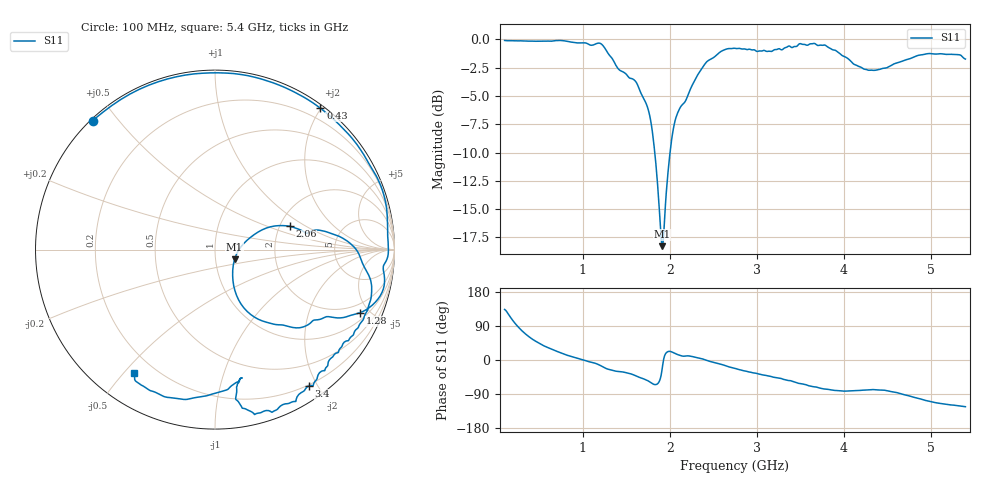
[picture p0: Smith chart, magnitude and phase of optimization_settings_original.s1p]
! Touchstone file generated by Optenni Lab on 2026-07-15T02:30:11
# Hz S RI R 50
! freq S11(real imag)
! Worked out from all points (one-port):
!   531 points, 100 MHz to 5.4 GHz, reference 50 ohm
!   lowest |S11| = -18.3 dB at 1.91 GHz (marker M1), VSWR 1.28, Z = 61.8 - j6.91 ohm
!   |S11| at or under -10 dB: 1.827 GHz to 2.003 GHz (175.8 MHz wide, 9.18 % of centre)
!   S11 on the Smith chart (normalised r, x): 100 MHz: 0.01, +0.43; 430 MHz: 0.04, +1.99; 1.28 GHz: 1.40, -4.37; 2.06 GHz: 2.27, +0.73; 3.4 GHz: 0.19, -1.89; 5.4 GHz: 0.13, -0.53
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1e8  -0.6803 0.7189
1.8e8  -0.3154 0.9355
2.4e8  -0.0237 0.9847
3.3e8  0.324 0.9292
4.3e8  0.587 0.7876
5.7e8  0.8016 0.5706
7.7e8  0.9451 0.2868
1.18e9  0.9421 -0.2019
1.28e9  0.8069 -0.3518
1.43e9  0.6257 -0.3733
1.59e9  0.5085 -0.4239
1.76e9  0.2633 -0.3972
1.82e9  0.1447 -0.3029
1.91e9  0.1088 -0.0551
1.98e9  0.241 0.0983
2.06e9  0.4163 0.1297
2.09e9  0.4584 0.1168
2.28e9  0.6449 0.0905
2.43e9  0.7996 -0.0203
2.75e9  0.8465 -0.3439
3.4e9  0.5233 -0.7587
3.42e9  0.5034 -0.7769
3.77e9  0.2235 -0.9172
4.08e9  0.1208 -0.794
4.46e9  0.1351 -0.7337
4.74e9  -0.0551 -0.8159
5.07e9  -0.3393 -0.7922
5.4e9  -0.4492 -0.6848
